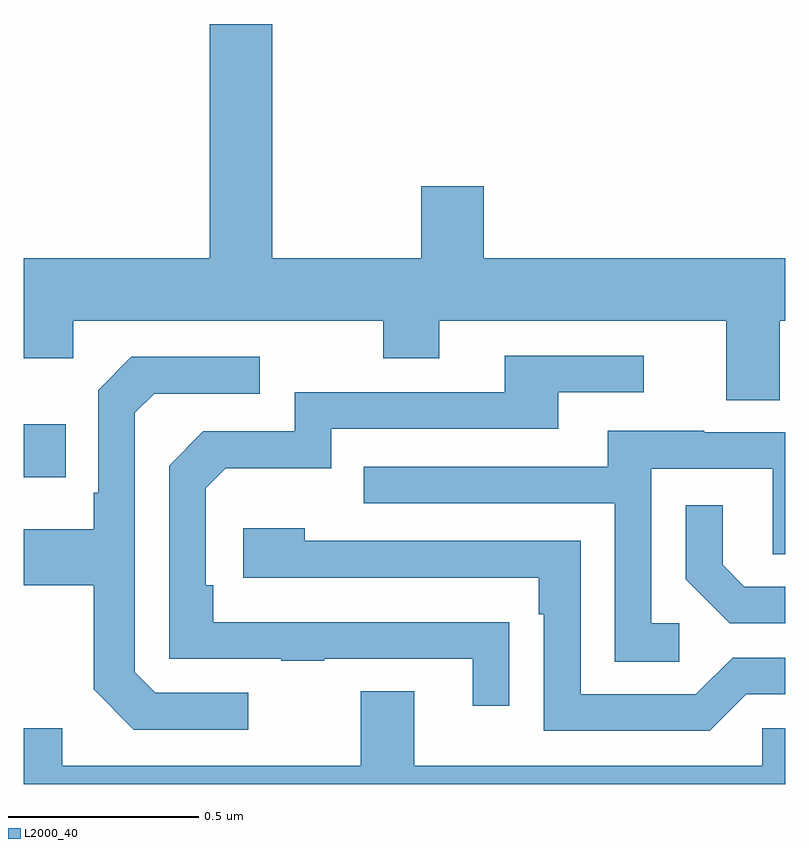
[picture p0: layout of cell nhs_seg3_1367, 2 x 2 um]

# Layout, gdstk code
import gdstk
lib = gdstk.Library(unit=1e-6, precision=1e-09)
def R(c, l, rs):  # rectangles x0, y0, x1, y1
    for r in rs: c.add(gdstk.rectangle(r[:2], r[2:], *l))
def P(c, l, *ps):  # polygons
    for p in ps: c.add(gdstk.Polygon(p, *l))
L2000_40 = (2000, 40)

nhs_seg3_1367 = lib.new_cell('nhs_seg3_1367')
R(nhs_seg3_1367, L2000_40, [(128,667.205,128.111,667.345)])
P(nhs_seg3_1367, L2000_40, [(129.985,667.616),(130,667.616),(130,667.78),(129.208,667.78),(129.208,667.969),(129.044,667.969),(129.044,667.78),(128.653,667.78),(128.653,668.395),(128.489,668.395),(128.489,667.78),(128,667.78),(128,667.517),(128.13,667.517),(128.13,667.616),(128.944,667.616),(128.944,667.517),(129.091,667.517),(129.091,667.616),(129.845,667.616),(129.845,667.408),(129.985,667.408)],
  [(129.275,666.824),(129.173,666.824),(129.173,666.825),(128.498,666.825),(128.498,666.922),(128.478,666.922),(128.478,667.176),(128.531,667.229),(128.808,667.229),(128.808,667.332),(129.403,667.332),(129.403,667.428),(129.628,667.428),(129.628,667.524),(129.263,667.524),(129.263,667.428),(128.712,667.428),(128.712,667.326),(128.472,667.326),(128.382,667.236),(128.382,666.729),(128.677,666.729),(128.677,666.724),(128.789,666.724),(128.789,666.729),(129.179,666.729),(129.179,666.606),(129.275,666.606)],
  [(128.59,666.639),(128.346,666.639),(128.292,666.693),(128.292,667.374),(128.343,667.425),(128.62,667.425),(128.62,667.521),(128.283,667.521),(128.196,667.434),(128.196,667.165),(128.184,667.165),(128.184,667.069),(128,667.069),(128,666.922),(128.184,666.922),(128.184,666.649),(128.289,666.543),(128.59,666.543)],
  [(129.721,666.822),(129.648,666.822),(129.648,667.227),(129.966,667.227),(129.966,667.003),(130,667.003),(130,667.323),(129.787,667.323),(129.787,667.327),(129.533,667.327),(129.533,667.233),(128.893,667.233),(128.893,667.137),(129.552,667.137),(129.552,666.721),(129.721,666.721)],
  [(130,666.918),(129.892,666.918),(129.835,666.975),(129.835,667.132),(129.738,667.132),(129.738,666.938),(129.854,666.822),(130,666.822)],
  [(129.897,666.636),(130,666.636),(130,666.732),(129.861,666.732),(129.765,666.636),(129.462,666.636),(129.462,667.038),(128.738,667.038),(128.738,667.072),(128.577,667.072),(128.577,666.942),(129.353,666.942),(129.353,666.845),(129.366,666.845),(129.366,666.54),(129.801,666.54)],
  [(130,666.546),(129.939,666.546),(129.939,666.448),(129.025,666.448),(129.025,666.643),(128.885,666.643),(128.885,666.448),(128.101,666.448),(128.101,666.547),(128,666.547),(128,666.4),(130,666.4)])

lib.write_gds('nhs_seg3_1367.gds')
